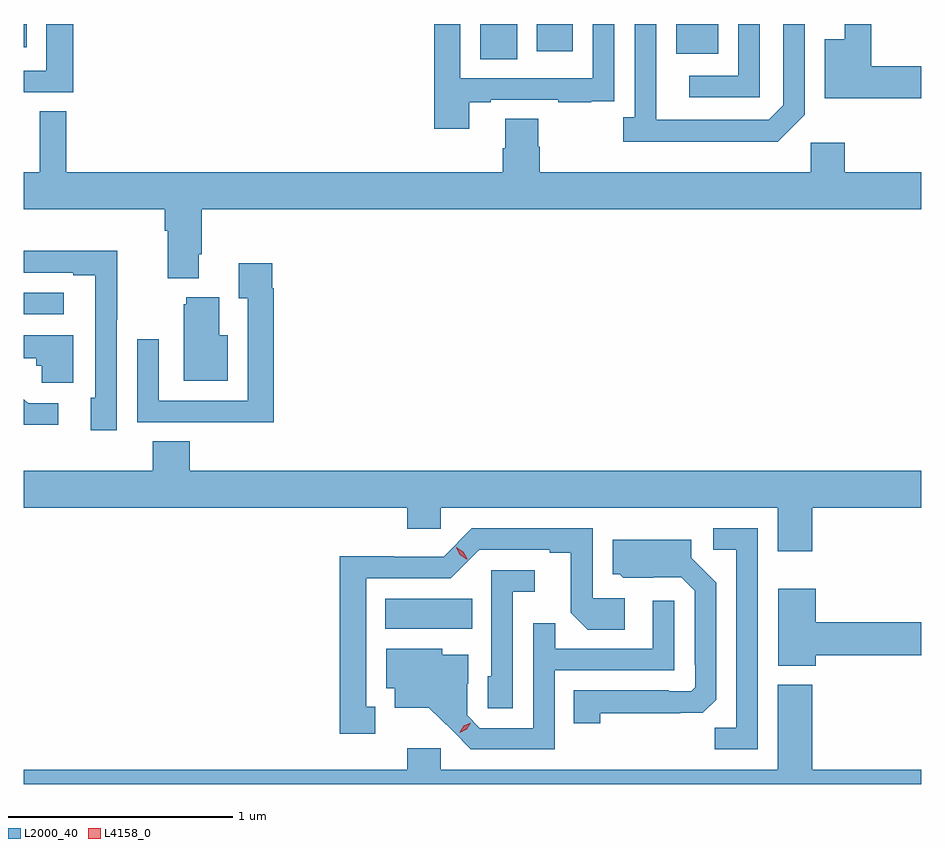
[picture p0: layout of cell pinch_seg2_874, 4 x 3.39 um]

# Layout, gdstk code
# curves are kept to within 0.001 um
import gdstk
lib = gdstk.Library(unit=1e-6, precision=1e-09)
def R(c, l, rs):  # rectangles x0, y0, x1, y1
    for r in rs: c.add(gdstk.rectangle(r[:2], r[2:], *l))
def P(c, l, *ps):  # polygons
    for p in ps: c.add(gdstk.Polygon(p, *l))
L2000_40 = (2000, 40)
L4158_0 = (4158, 0)

pinch_seg2_874 = lib.new_cell('pinch_seg2_874')
R(pinch_seg2_874, L2000_40, [(375.131,584.492,375.518,584.626), (373.519,585.894,373.696,585.99), (375.554,587.032,375.718,587.189), (376.427,587.057,376.615,587.189), (375.806,587.067,375.967,587.189), (373.519,587.085,373.531,587.189)])
P(pinch_seg2_874, L2000_40, [(377.519,587),(377.297,587),(377.297,587.189),(377.18,587.189),(377.18,587.122),(377.09,587.122),(377.09,586.858),(377.519,586.858)],
  [(377.001,586.785),(377.001,587.189),(376.905,587.189),(376.905,586.827),(376.839,586.761),(376.339,586.761),(376.338,587.189),(376.242,587.189),(376.242,586.774),(376.191,586.774),(376.191,586.664),(376.88,586.664)],
  [(376.8,587.189),(376.704,587.189),(376.704,586.959),(376.485,586.959),(376.485,586.863),(376.8,586.863)],
  [(375.505,586.839),(375.601,586.839),(375.601,586.851),(375.901,586.851),(375.901,586.839),(376.049,586.839),(376.049,586.845),(376.151,586.845),(376.151,586.954),(376.152,586.954),(376.152,587.189),(376.056,587.189),(376.056,586.947),(375.465,586.947),(375.465,587.189),(375.349,587.189),(375.349,586.722),(375.505,586.722)],
  [(373.738,587.189),(373.619,587.189),(373.619,586.98),(373.519,586.98),(373.519,586.884),(373.738,586.884)],
  [(374.299,586.162),(374.312,586.162),(374.312,586.364),(377.519,586.364),(377.519,586.528),(377.18,586.528),(377.18,586.66),(377.028,586.66),(377.028,586.528),(375.818,586.528),(375.818,586.641),(375.813,586.641),(375.813,586.766),(375.665,586.766),(375.665,586.634),(375.653,586.634),(375.653,586.528),(373.708,586.528),(373.708,586.799),(373.589,586.799),(373.589,586.528),(373.519,586.528),(373.519,586.364),(374.147,586.364),(374.147,586.268),(374.159,586.268),(374.159,586.055),(374.299,586.055)],
  [(373.932,585.871),(373.935,585.871),(373.935,586.178),(373.519,586.178),(373.519,586.08),(373.739,586.08),(373.739,586.068),(373.836,586.068),(373.836,585.522),(373.817,585.522),(373.817,585.378),(373.932,585.378)],
  [(374.633,586.01),(374.626,586.01),(374.626,586.123),(374.477,586.123),(374.477,585.967),(374.517,585.967),(374.517,585.51),(374.121,585.51),(374.121,585.784),(374.025,585.784),(374.025,585.414),(374.341,585.414),(374.341,585.413),(374.633,585.413)],
  [(374.428,585.802),(374.389,585.802),(374.389,585.97),(374.243,585.97),(374.243,585.939),(374.231,585.939),(374.231,585.599),(374.428,585.599)],
  [(373.738,585.802),(373.519,585.802),(373.519,585.698),(373.573,585.698),(373.573,585.666),(373.599,585.666),(373.599,585.59),(373.738,585.59)],
  [(373.672,585.498),(373.537,585.498),(373.519,585.516),(373.519,585.401),(373.672,585.401)],
  [(377.033,585.032),(377.519,585.032),(377.519,585.196),(374.258,585.196),(374.258,585.329),(374.093,585.329),(374.093,585.196),(373.519,585.196),(373.519,585.032),(375.227,585.032),(375.227,584.939),(375.378,584.939),(375.378,585.032),(376.88,585.032),(376.88,584.838),(377.033,584.838)],
  [(375.085,584.145),(375.046,584.145),(375.046,584.718),(375.423,584.718),(375.549,584.844),(375.863,584.844),(375.863,584.832),(375.957,584.832),(375.957,584.564),(376.033,584.488),(376.198,584.488),(376.198,584.628),(376.056,584.628),(376.056,584.94),(375.516,584.94),(375.39,584.814),(375.168,584.814),(375.168,584.816),(374.928,584.816),(374.928,584.025),(375.085,584.025)],
  [(376.791,584.94),(376.593,584.94),(376.593,584.844),(376.695,584.844),(376.695,584.051),(376.6,584.051),(376.6,583.956),(376.791,583.956)],
  [(376.089,584.116),(376.546,584.117),(376.605,584.176),(376.605,584.698),(376.495,584.808),(376.495,584.89),(376.145,584.89),(376.145,584.736),(376.176,584.736),(376.192,584.72),(376.449,584.721),(376.509,584.661),(376.509,584.332),(376.512,584.332),(376.512,584.232),(376.494,584.214),(376.394,584.214),(376.394,584.217),(375.97,584.217),(375.97,584.07),(376.089,584.07)],
  [(375.699,584.657),(375.796,584.657),(375.796,584.754),(375.603,584.754),(375.603,584.28),(375.588,584.28),(375.588,584.137),(375.699,584.137)],
  [(377.05,584.375),(377.519,584.375),(377.519,584.522),(377.05,584.522),(377.05,584.671),(376.883,584.671),(376.883,584.327),(377.05,584.327)],
  [(375.885,584.307),(376.419,584.307),(376.419,584.617),(376.323,584.617),(376.323,584.403),(375.887,584.403),(375.887,584.516),(375.789,584.516),(375.789,584.049),(375.552,584.049),(375.495,584.106),(375.495,584.248),(375.499,584.248),(375.499,584.377),(375.384,584.377),(375.384,584.404),(375.134,584.404),(375.134,584.228),(375.173,584.228),(375.173,584.141),(375.325,584.141),(375.512,583.956),(375.885,583.956)],
  [(377.519,583.864),(377.033,583.864),(377.033,584.242),(376.88,584.242),(376.88,583.864),(375.378,583.864),(375.378,583.96),(375.227,583.96),(375.227,583.864),(373.519,583.864),(373.519,583.8),(377.519,583.8)])
P(pinch_seg2_874, L4158_0, [(375.462,584.029),(375.462,584.03),(375.48,584.059),(375.511,584.073),(375.512,584.073),(375.512,584.073),(375.493,584.044),(375.462,584.029)],
  [(375.494,584.803),(375.463,584.822),(375.446,584.855),(375.446,584.855),(375.446,584.855),(375.478,584.836),(375.495,584.804),(375.495,584.803)])

lib.write_gds('pinch_seg2_874.gds')
